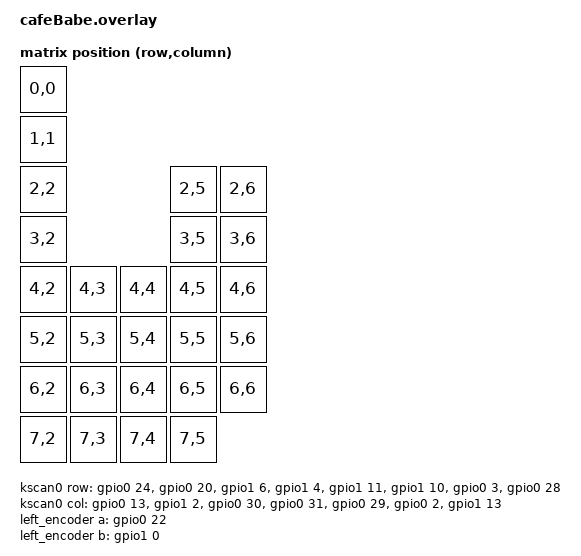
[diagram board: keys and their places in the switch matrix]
/*
 * Copyright (c) 2020 The ZMK Contributors
 *
 * SPDX-License-Identifier: MIT
 */

#include <dt-bindings/zmk/matrix_transform.h>

/ {
    chosen {
        zmk,kscan = &kscan0;
		zmk,matrix_transform = &default_transform;
    };

    kscan0: kscan_0 {
        compatible = "zmk,kscan-gpio-matrix";
        label = "KSCAN";
        diode-direction = "col2row";

        col-gpios
            = <&gpio0 13 GPIO_ACTIVE_HIGH> // 0
            , <&gpio1 2 GPIO_ACTIVE_HIGH>  // 1
            , <&gpio0 30 GPIO_ACTIVE_HIGH> // 2
		    , <&gpio0 31 GPIO_ACTIVE_HIGH> // 3
		    , <&gpio0 29 GPIO_ACTIVE_HIGH> // 4
		    , <&gpio0 2 GPIO_ACTIVE_HIGH>  // 5
		    , <&gpio1 13 GPIO_ACTIVE_HIGH> // 6
            ;

        row-gpios
            = <&gpio0 24 (GPIO_ACTIVE_HIGH | GPIO_PULL_DOWN)> // 0
            , <&gpio0 20 (GPIO_ACTIVE_HIGH | GPIO_PULL_DOWN)> // 1
            , <&gpio1 6 (GPIO_ACTIVE_HIGH | GPIO_PULL_DOWN)>  // 2
            , <&gpio1 4 (GPIO_ACTIVE_HIGH | GPIO_PULL_DOWN)>  // 3
            , <&gpio1 11 (GPIO_ACTIVE_HIGH | GPIO_PULL_DOWN)> // 4
            , <&gpio1 10 (GPIO_ACTIVE_HIGH | GPIO_PULL_DOWN)> // 5
            , <&gpio0 3 (GPIO_ACTIVE_HIGH | GPIO_PULL_DOWN)>  // 6
            , <&gpio0 28 (GPIO_ACTIVE_HIGH | GPIO_PULL_DOWN)> // 7
            ;
    };

	default_transform: keymap_transform_0 {
		compatible = "zmk,matrix-transform";
		columns = <7>;
		rows = <8>;

        map = <
RC(0,0) 
RC(1,1)  
RC(2,2)                 RC(2,5) RC(2,6)
RC(3,2)                 RC(3,5) RC(3,6)
RC(4,2) RC(4,3) RC(4,4) RC(4,5) RC(4,6)
RC(5,2) RC(5,3) RC(5,4) RC(5,5) RC(5,6)
RC(6,2) RC(6,3) RC(6,4) RC(6,5) RC(6,6)
RC(7,2) RC(7,3) RC(7,4) RC(7,5)
        >;
	};

    left_encoder: encoder_left {
        compatible = "alps,ec11";
        label = "LEFT_ENCODER";
        a-gpios = <&gpio0 22 (GPIO_ACTIVE_HIGH | GPIO_PULL_UP)>;
        b-gpios = <&gpio1 0 (GPIO_ACTIVE_HIGH | GPIO_PULL_UP)>;
        resolution = <4>;
        status = "okay";
    };

	sensors {
		compatible = "zmk,keymap-sensors";
		sensors = <&left_encoder>;
	};
};

&pro_micro_i2c {
	status = "okay";

	ssd1306@3c {
		compatible = "solomon,ssd1306fb";
		reg = <0x3c>;
		label = "DISPLAY";
		width = <128>;
		height = <64>;
		segment-offset = <0>;
		page-offset = <0>;
		display-offset = <0>;
		multiplex-ratio = <63>;
		prechargep = <0x22>;
	};
};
